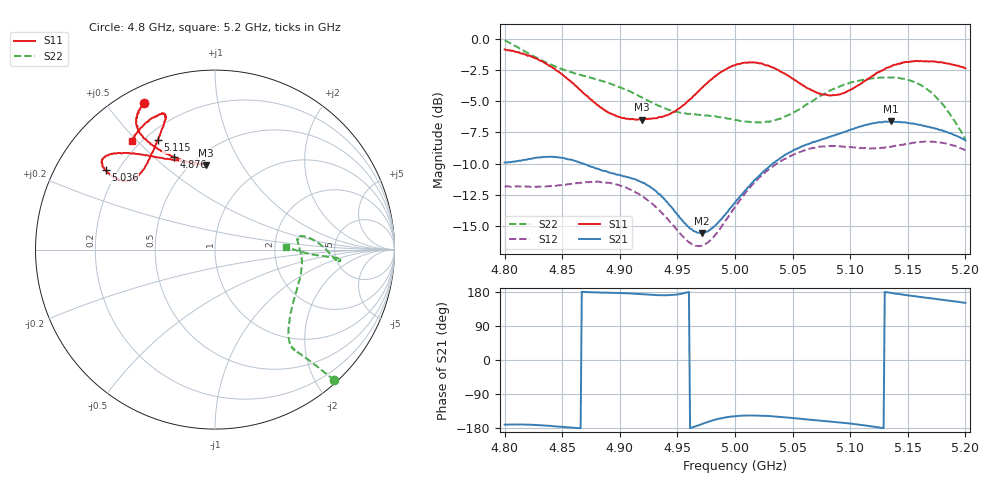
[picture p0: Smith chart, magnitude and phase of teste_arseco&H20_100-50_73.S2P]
! Network Analyzer HP8722D
! Hewlett-Packard
! Data name: Linha & Wilkinson
! Saver's name: Rodrigo Anjos
! Comments: Teste da utilização de aquisição
! continua pelo VNA HP8722D
! Time and date: 6/5/2025 13:10
!  Frequency  S11  S21  S12  S22
# HZ  S  MA R 50
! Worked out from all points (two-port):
!   401 points, 4.8 GHz to 5.2 GHz, reference 50 ohm
!   highest |S21| = -6.61 dB at 5.135 GHz (marker M1); lowest = -15.5 dB at 4.971 GHz (marker M2)
!   |S21| within 3 dB of the highest: 4.823 GHz to 4.854 GHz (30.75 MHz wide, 0.636 % of centre); 5.039 GHz to end of sweep
!   lowest |S11| = -6.5 dB at 4.919 GHz (marker M3), VSWR 2.81, Z = 29.2 + j35.6 ohm
!   |S11| at or under -10 dB: nowhere
!   |S22| runs from -8.0 to -0.1 dB; largest |S21 - S12| = 0.83
!   S11 on the Smith chart (normalised r, x): 4.8 GHz: 0.07, +0.63; 4.876 GHz: 0.38, +0.58; 5.036 GHz: 0.15, +0.32; 5.115 GHz: 0.25, +0.58; 5.2 GHz: 0.17, +0.48
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4.8e9  0.9059 115.8  0.3199 -170.5  0.2567 -86.1  0.9842 -47.5
4.834e9  0.8047 122.5  0.3368 -172.7  0.2564 -76.9  0.8118 -49.7
4.867e9  0.6156 117.9  0.3175 179.8  0.2655 -67.3  0.7149 -51.6
4.876e9  0.567 114.0  0.3071 178.7  0.267 -66.3  0.6963 -51.9
4.9e9  0.4856 101.3  0.2849 176.7  0.2585 -66.5  0.6385 -50.1
4.919e9  0.4747 96.0  0.2672 173.8  0.235 -68.6  0.5837 -44.9
4.934e9  0.4859 99.2  0.2394 171.0  0.2071 -69.4  0.5381 -37.4
4.959e9  0.562 116.3  0.1778 178.6  0.1547 -58.9  0.5001 -21.0
4.971e9  0.6351 124.8  0.1673 -169.5  0.1484 -45.3  0.495 -13.8
4.982e9  0.7031 130.4  0.1774 -158.1  0.1624 -33.0  0.4897 -8.3
5e9  0.7848 137.1  0.221 -148.4  0.2125 -21.4  0.4731 -0.3
5.018e9  0.8021 141.7  0.274 -146.6  0.2695 -18.3  0.463 5.8
5.036e9  0.7547 143.9  0.3247 -149.3  0.3155 -18.2  0.4744 9.0
5.067e9  0.6219 141.9  0.3849 -158.0  0.3654 -20.6  0.5622 4.6
5.09e9  0.5987 131.9  0.4163 -164.4  0.3711 -24.0  0.6414 -2.1
5.115e9  0.69 117.7  0.4538 -173.6  0.364 -26.7  0.6904 -5.3
5.134e9  0.7688 111.2  0.4664 177.8  0.3689 -28.7  0.6998 -4.9
5.135e9  0.7741 111.0  0.4674 177.3  0.3704 -28.8  0.7003 -4.8
5.148e9  0.8082 110.5  0.4628 171.6  0.3791 -31.4  0.6883 -4.1
5.163e9  0.8133 113.0  0.4492 165.4  0.3871 -35.6  0.6445 -3.7
5.181e9  0.8016 119.3  0.4276 158.4  0.3828 -41.3  0.5418 -2.9
5.2e9  0.762 127.4  0.3916 150.8  0.3583 -46.3  0.3971 2.4
